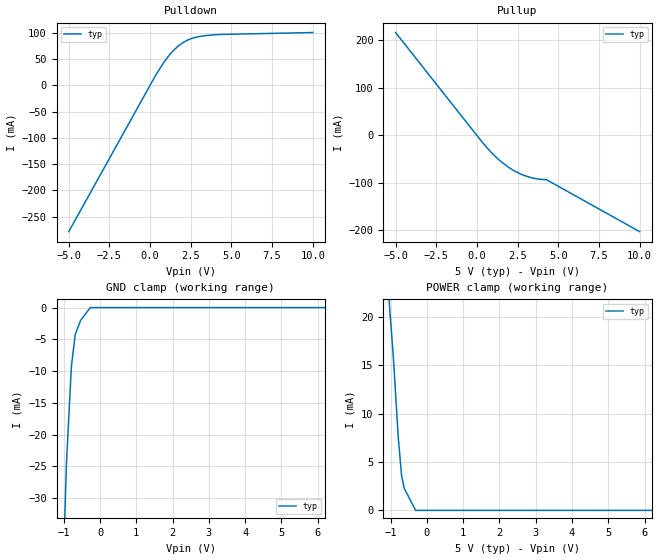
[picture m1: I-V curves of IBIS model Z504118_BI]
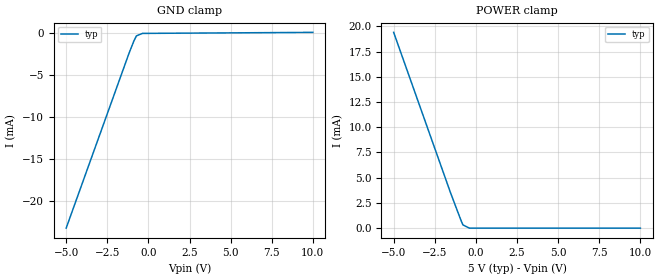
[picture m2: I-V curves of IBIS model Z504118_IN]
| YOU ARE ONLY AUTHORIZED TO USE THIS SOFTWARE
| ACCORDING TO LICENSOR'S LICENSE RESTRICTIONS.
[IBIS Ver] 3.1
[File Name] mc54hc640j.ibs
[File Rev] 2.0
[Source] Measured and created by ICX Technology
[Date] Friday 7/14/00 9:08:07 AM
[Copyright]
| (C) COPYRIGHT 1993-2000
| MENTOR GRAPHICS CORPORATION
| ICX STANDARD LIBRARY, ICX PROJECT MODELING,
| ICX CUSTOM MODELING, ICX VENDOR MODEL
| ALL RIGHTS RESERVED.
| THE FOLLOWING ARE TRADEMARKS OR SERVICE MARKS OF
| MENTOR GRAPHICS CORPORATION:ICX (R), ICX STANDARD
| LIBRARY(R), ICX PROJECT MODELING(R), ICX CUSTOM
| MODELING(R), qualityIBIS(TM), MODELVIEWER(TM),
| AND MODELEDITOR(TM)
| ALL COPIES OF SOFTWARE, INCLUDING BUT NOT LIMITED TO
| ANY MODIFICATIONS, ENHANCEMENTS OR DERIVATIVE WORKS,
| MUST CONTAIN ALL MENTOR GRAPHICS CORPORATION'S
| NOTICES AND LEGENDS, INCLUDING THOSE EMBEDDED IN
| SOFTWARE AND THOSE AFFIXED TO SOFTWARE MEDIUM
| AND CONTAINER, AS RECEIVED FROM MENTOR GRAPHICS
| CORPORATION.
|  ZAP Model Builder 2.7
[Component] MC54HC640J
[Manufacturer] OnSemiconductor
[Package]
| variable   typ   min   max
R_pkg  .216ohms NA NA
L_pkg  5.76nH NA NA
C_pkg  2.193pF NA NA
[Pin] signal_name  model_name  R_pin  L_pin C_pin
1 DIR Z504118_IN .232 9.76n 3.179p
2 A0 Z504118_BI .224 7.26n 2.686p
3 A1 Z504118_BI .216 5.26n 2.193p
4 A2 Z504118_BI .208 3.76n 1.7p
5 A3 Z504118_BI .2 2.76n 1.207p
6 A4 Z504118_BI .2 2.76n 1.207p
7 A5 Z504118_BI .208 3.76n 1.7p
8 A6 Z504118_BI .216 5.26n 2.193p
9 A7 Z504118_BI .224 7.26n 2.686p
10 GND GND .232 9.76n 3.179p
11 B7 Z504118_BI .232 9.76n 3.179p
12 B6 Z504118_BI .224 7.26n 2.686p
13 B5 Z504118_BI .216 5.26n 2.193p
14 B4 Z504118_BI .208 3.76n 1.7p
15 B3 Z504118_BI .2 2.76n 1.207p
16 B2 Z504118_BI .2 2.76n 1.207p
17 B1 Z504118_BI .208 3.76n 1.7p
18 B0 Z504118_BI .216 5.26n 2.193p
19 _G Z504118_IN .224 7.26n 2.686p
20 VCC POWER .232 9.76n 3.179p
| Models and submodels in the file (2): Z504118_BI (I/O), Z504118_IN (Input)
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| (C) COPYRIGHT 1993-2000
| MENTOR GRAPHICS CORPORATION
| ICX STANDARD LIBRARY, ICX PROJECT MODELING,
| ICX CUSTOM MODELING, ICX VENDOR MODEL
| ALL RIGHTS RESERVED.
| THE FOLLOWING ARE TRADEMARKS OR SERVICE MARKS OF
| MENTOR GRAPHICS CORPORATION:ICX (R), ICX STANDARD
| LIBRARY(R), ICX PROJECT MODELING(R), ICX CUSTOM
| MODELING(R), qualityIBIS(TM), MODELVIEWER(TM),
| AND MODELEDITOR(TM)
| ALL COPIES OF SOFTWARE, INCLUDING BUT NOT LIMITED TO
| ANY MODIFICATIONS, ENHANCEMENTS OR DERIVATIVE WORKS,
| MUST CONTAIN ALL MENTOR GRAPHICS CORPORATION'S
| NOTICES AND LEGENDS, INCLUDING THOSE EMBEDDED IN
| SOFTWARE AND THOSE AFFIXED TO SOFTWARE MEDIUM
| AND CONTAINER, AS RECEIVED FROM MENTOR GRAPHICS
| CORPORATION.
| Model Application Version 1.89 2/18/99.
[Model] Z504118_BI
Model_type I/O
Vinl=1.000V
Vinh=3.500V
Vref=0.000V
Rref=500.0Mohms
Cref=50.00pF
Vmeas=2.500V
C_comp 8.000pF NA NA
| variable typ   min   max
[Voltage Range] 5.000V NA NA
[POWER Clamp Reference] 5.000V NA NA
[Pullup Reference] 5.000V NA NA
[Pulldown Reference] 0.000V NA NA
[GND Clamp Reference] 0.000V NA NA
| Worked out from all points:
|   slope of the pulldown table from 0 to 0.75 V, typ, clamps not added: 19.2 ohm
|   slope of the pullup table from 0 to 0.75 V, typ, clamps not added: 24.4 ohm
[GND Clamp]
-5V       -1.243A    NA         NA
-1.171V   -77.76mA   NA         NA
-1.054V   -48.48mA   NA         NA
-926.7mV  -24.55mA   NA         NA
-791mV    -9.321mA   NA         NA
-684.1mV  -4.22mA    NA         NA
-537.1mV  -2.034mA   NA         NA
-268.6mV  0A         NA         NA
10V       0A         NA         NA
[Pulldown]
-5V       -278.6mA   NA         NA
366.6mV   20.57mA    NA         NA
893.5mV   46.13mA    NA         NA
1.182V    57.74mA    NA         NA
1.7V      74.26mA    NA         NA
2.051V    82.1mA     NA         NA
2.523V    89.09mA    NA         NA
3.496V    95.24mA    NA         NA
4.233V    97.07mA    NA         NA
10V       100.8mA    NA         NA
[Pullup]
-5V       215.4mA    NA         NA
249mV     -11.55mA   NA         NA
977mV     -39.78mA   NA         NA
1.46V     -55.01mA   NA         NA
2.275V    -74.6mA    NA         NA
2.905V    -84.62mA   NA         NA
3.579V    -91.16mA   NA         NA
4.293V    -93.93mA   NA         NA
10V       -202.6mA   NA         NA
[POWER Clamp]
-5V       1.011A     NA         NA
-1.523V   93.63mA    NA         NA
-1.335V   52.86mA    NA         NA
-1.221V   32.45mA    NA         NA
-1.17V    27.96mA    NA         NA
-931mV    16.13mA    NA         NA
-791mV    7.58mA     NA         NA
-698mV    3.552mA    NA         NA
-625mV    2.268mA    NA         NA
-312.5mV  0A         NA         NA
10V       0A         NA         NA
[Ramp]
| variable typ min max
dV/dt_r 2.879/1.819n NA NA
dV/dt_f 2.879/1.995n NA NA
R_load = 500.0Ohms
| (C) COPYRIGHT 1993-2000
| MENTOR GRAPHICS CORPORATION
| ICX STANDARD LIBRARY, ICX PROJECT MODELING,
| ICX CUSTOM MODELING, ICX VENDOR MODEL
| ALL RIGHTS RESERVED.
| THE FOLLOWING ARE TRADEMARKS OR SERVICE MARKS OF
| MENTOR GRAPHICS CORPORATION:ICX (R), ICX STANDARD
| LIBRARY(R), ICX PROJECT MODELING(R), ICX CUSTOM
| MODELING(R), qualityIBIS(TM), MODELVIEWER(TM),
| AND MODELEDITOR(TM)
| ALL COPIES OF SOFTWARE, INCLUDING BUT NOT LIMITED TO
| ANY MODIFICATIONS, ENHANCEMENTS OR DERIVATIVE WORKS,
| MUST CONTAIN ALL MENTOR GRAPHICS CORPORATION'S
| NOTICES AND LEGENDS, INCLUDING THOSE EMBEDDED IN
| SOFTWARE AND THOSE AFFIXED TO SOFTWARE MEDIUM
| AND CONTAINER, AS RECEIVED FROM MENTOR GRAPHICS
| CORPORATION.
| Model Application Version 1.89 2/18/99.
[Model] Z504118_IN
Model_type Input
Vinl = 1.000V
Vinh = 3.500V
C_comp 4.000pF NA NA
| variable typ   min   max
[Voltage Range] 5.000V NA NA
[GND Clamp Reference] 0.000V NA NA
[POWER Clamp Reference] 5.000V NA NA
[GND Clamp]
-5V       -23.3mA    NA         NA
-1.166V   -2.341mA   NA         NA
-878.9mV  -925.6uA   NA         NA
-727.6mV  -325.1uA   NA         NA
-363.8mV  -31.41uA   NA         NA
10V       92.04uA    NA         NA
[POWER Clamp]
-5V       19.4mA     NA         NA
-1.553V   3.554mA    NA         NA
-940mV    912.4uA    NA         NA
-791mV    321.9uA    NA         NA
-395.5mV  0A         NA         NA
10V       0A         NA         NA
